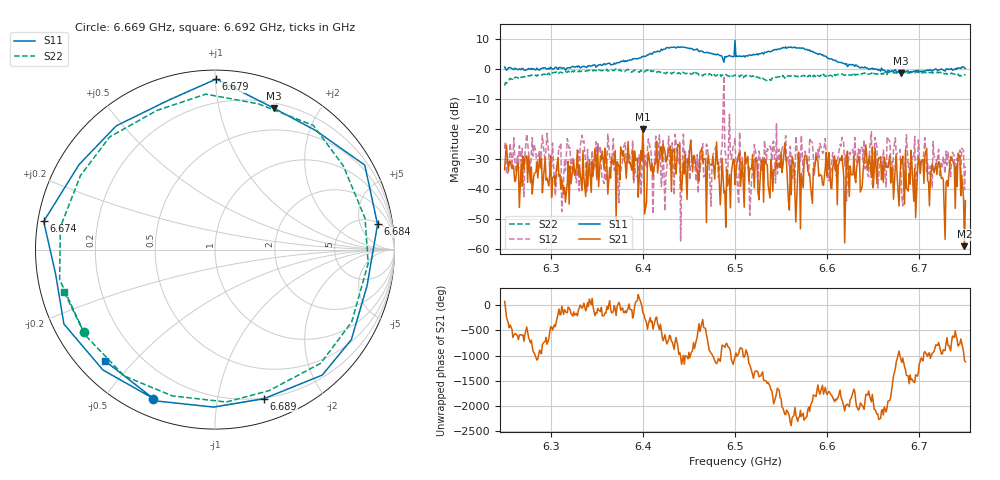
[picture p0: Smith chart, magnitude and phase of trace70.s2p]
# Hz S RI R 50
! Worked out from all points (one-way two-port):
!   401 points, 6.25 GHz to 6.75 GHz, reference 50 ohm
!   highest |S21| = -20.17 dB at 6.4 GHz (marker M1); lowest = -59.0 dB at 6.749 GHz (marker M2)
!   lowest |S11| = -1.4 dB at 6.68 GHz (marker M3), VSWR 12.65, Z = 12.7 + j73.6 ohm
!   |S11| at or under -10 dB: nowhere
!   |S22| runs from -5.6 to -0.1 dB; largest |S21 - S12| = 0.76
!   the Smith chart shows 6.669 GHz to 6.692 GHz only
!   S11 on the Smith chart (normalised r, x): 6.669 GHz: 0.08, -0.67; 6.674 GHz: 0.02, +0.08; 6.679 GHz: 0.05, +1.01; 6.684 GHz: 6, +10; 6.689 GHz: 0.19, -1.36; 6.692 GHz: 0.08, -0.42
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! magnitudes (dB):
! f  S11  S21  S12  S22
! 6.25 GHz  0.6  -33.6  -26.6  -5.6
! 6.334 GHz  0.6  -40.6  -22.1  -0.8
! 6.4 GHz  4.0  -20.2  -26.3  -0.7
! 6.418 GHz  5.7  -29.5  -22.0  -1.0
! 6.479 GHz  4.8  -30.1  -25.9  -2.4
! 6.49 GHz  3.9  -52.7  -28.6  -1.9
! 6.5 GHz  9.4  -38.6  -23.0  -2.0
! 6.518 GHz  4.5  -33.3  -37.1  -2.6
! 6.535 GHz  5.6  -31.9  -26.6  -4.1
! 6.584 GHz  5.8  -44.8  -24.5  -1.9
! 6.668 GHz  -0.8  -28.8  -24.3  -1.2
! 6.669 GHz  -0.9  -38.0  -30.2  -1.3
! 6.674 GHz  -0.3  -32.2  -23.0  -1.3
! 6.679 GHz  -0.4  -36.3  -26.9  -1.1
! 6.68 GHz  -1.4  -30.0  -33.7  -1.4
! 6.684 GHz  -0.8  -45.0  -36.0  -1.3
! 6.689 GHz  -1.2  -34.8  -31.4  -1.4
! 6.692 GHz  -1.2  -31.8  -29.2  -1.2
! 6.729 GHz  -0.1  -37.9  -27.4  -1.5
! 6.735 GHz  0.1  -29.7  -30.3  -1.5
! 6.749 GHz  0.3  -59.0  -40.3  -2.0
! 6.75 GHz  0.1  -43.9  -32.5  -1.8
